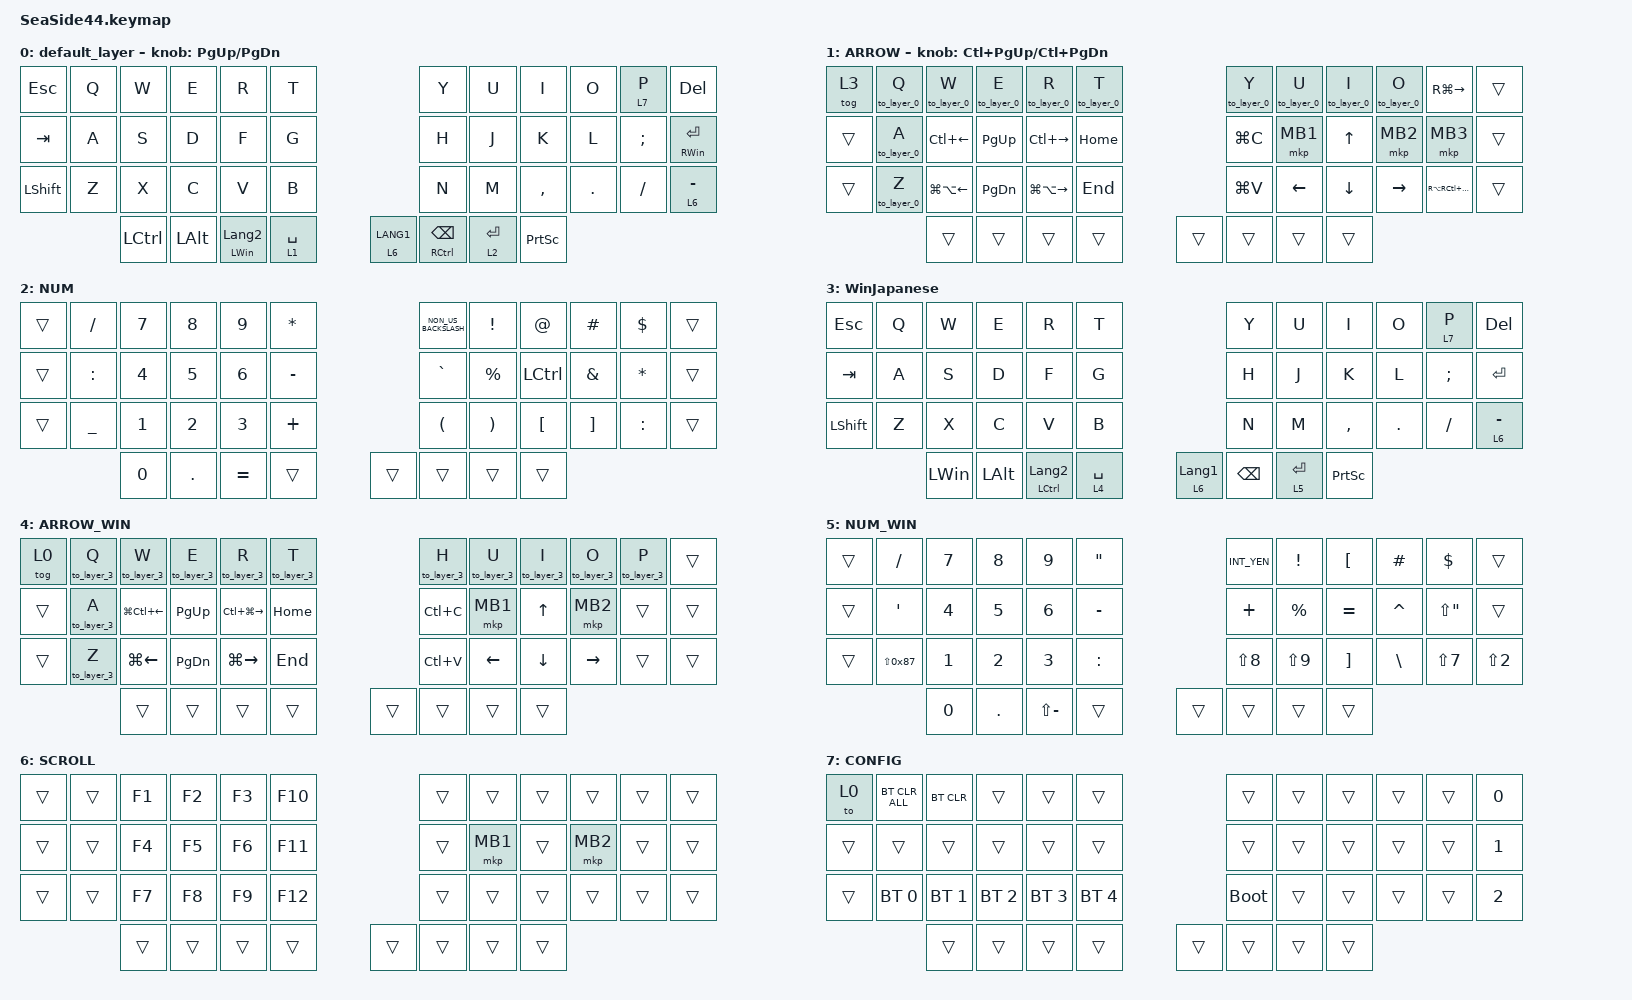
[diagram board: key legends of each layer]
#include <behaviors.dtsi>
#include <dt-bindings/zmk/bt.h>
#include <dt-bindings/zmk/keys.h>
#include <dt-bindings/zmk/pointing.h>

#define MOUSE 4
#define SCROLL 6
#define NUM 7
#define JP_UNDERSCORE   LS(0x87)

&mt {
    flavor = "balanced";
    quick-tap-ms = <300>;
};

&lt {
    flavor = "balanced";
    quick-tap-ms = <300>;
};

/ {
    combos {
        compatible = "zmk,combos";

        mouseclick1 {
            bindings = <&mkp LCLK>;
            key-positions = <19 20>;
        };

        mouseclick2 {
            bindings = <&mkp RCLK>;
            key-positions = <21 20>;
        };
    };

    macros {
        to_layer_0: to_layer_0 {
            compatible = "zmk,behavior-macro-one-param";
            #binding-cells = <1>;
            bindings = <&to 0 &macro_param_1to1 &kp MACRO_PLACEHOLDER>;
            label = "TO_LAYER_0";
        };

        to_layer_3: new_macro {
            compatible = "zmk,behavior-macro-one-param";
            #binding-cells = <1>;
            bindings = <&to 3 &macro_param_1to1 &kp MACRO_PLACEHOLDER>;
            label = "NEW_MACRO";
        };
    };

    behaviors {
        lt_to_layer_0: lt_to_layer_0 {
            compatible = "zmk,behavior-hold-tap";
            label = "LAYER_TAP_TO_0";
            bindings = <&mo>, <&to_layer_0>;

            #binding-cells = <2>;
            tapping-term-ms = <200>;
        };
    };

    keymap {
        compatible = "zmk,keymap";

        default_layer {
            bindings = <
&kp ESCAPE  &kp Q  &kp W      &kp E         &kp R                    &kp T                                            &kp Y        &kp U  &kp I      &kp O       &lt 7 P        &kp DELETE
&kp TAB     &kp A  &kp S      &kp D         &kp F                    &kp G                                            &kp H        &kp J  &kp K      &kp L       &kp SEMICOLON  &mt RIGHT_WIN ENTER
&kp LSHFT   &kp Z  &kp X      &kp C         &kp V                    &kp B                                            &kp N        &kp M  &kp COMMA  &kp PERIOD  &kp SLASH      &lt 6 MINUS
                   &kp LCTRL  &kp LEFT_ALT  &mt LEFT_WIN LANGUAGE_2  &lt 1 SPACE  &lt 6 LANG1    &mt RCTRL BACKSPACE  &lt 2 ENTER         &kp PSCRN
            >;

            sensor-bindings = <&inc_dec_kp PG_UP PAGE_DOWN>;
        };

        ARROW {
            bindings = <
&tog 3  &to_layer_0 Q  &to_layer_0 W           &to_layer_0 E  &to_layer_0 R            &to_layer_0 T                    &to_layer_0 Y  &to_layer_0 U   &to_layer_0 I  &to_layer_0 O  &kp RG(RIGHT_ARROW)          &trans
&trans  &to_layer_0 A  &kp LC(LEFT_ARROW)      &kp PAGE_UP    &kp LC(RIGHT_ARROW)      &kp HOME                         &kp LG(C)      &mkp MB1        &kp UP_ARROW   &mkp MB2       &mkp MB3                     &trans
&trans  &to_layer_0 Z  &kp LG(LA(LEFT_ARROW))  &kp PAGE_DOWN  &kp LG(LA(RIGHT_ARROW))  &kp END                          &kp LG(V)      &kp LEFT_ARROW  &kp DOWN       &kp RIGHT      &kp RA(RC(RG(RIGHT_ARROW)))  &trans
                       &trans                  &trans         &trans                   &trans         &trans    &trans  &trans                         &trans
            >;

            sensor-bindings = <&inc_dec_kp LC(PAGE_UP) LC(PAGE_DOWN)>;
        };

        NUM {
            bindings = <
&trans  &kp SLASH       &kp N7        &kp N8        &kp N9        &kp ASTERISK                    &kp NON_US_BACKSLASH  &kp EXCLAMATION        &kp AT_SIGN       &kp HASH           &kp DOLLAR    &trans
&trans  &kp COLON       &kp NUMBER_4  &kp N5        &kp NUMBER_6  &kp MINUS                       &kp GRAVE             &kp PERCENT            &kp LCTRL         &kp AMPERSAND      &kp ASTERISK  &trans
&trans  &kp UNDERSCORE  &kp NUMBER_1  &kp NUMBER_2  &kp NUMBER_3  &kp PLUS                        &kp LEFT_PARENTHESIS  &kp RIGHT_PARENTHESIS  &kp LEFT_BRACKET  &kp RIGHT_BRACKET  &kp COLON     &trans
                        &kp N0        &kp PERIOD    &kp EQUAL     &trans        &trans    &trans  &trans                                       &trans
            >;
        };

        WinJapanese {
            bindings = <
&kp ESCAPE      &kp Q  &kp W         &kp E         &kp R                 &kp T                                           &kp Y        &kp U  &kp I            &kp O       &lt 7 P    &kp DELETE
&kp TAB         &kp A  &kp S         &kp D         &kp F                 &kp G                                           &kp H        &kp J  &kp K            &kp L       &kp SEMI   &kp ENTER
&kp LEFT_SHIFT  &kp Z  &kp X         &kp C         &kp V                 &kp B                                           &kp N        &kp M  &kp COMMA        &kp PERIOD  &kp SLASH  &lt 6 MINUS
                       &kp LEFT_WIN  &kp LEFT_ALT  &mt LCTRL LANGUAGE_2  &lt 4 SPACE  &lt 6 LANGUAGE_1    &kp BACKSPACE  &lt 5 ENTER         &kp PRINTSCREEN
            >;
        };

        ARROW_WIN {
            bindings = <
&tog 0  &to_layer_3 Q  &to_layer_3 W     &to_layer_3 E  &to_layer_3 R        &to_layer_3 T                    &to_layer_3 H  &to_layer_3 U  &to_layer_3 I   &to_layer_3 O  &to_layer_3 P  &trans
&trans  &to_layer_3 A  &kp LG(LC(LEFT))  &kp PAGE_UP    &kp LC(LG(RIGHT))    &kp HOME                         &kp LC(C)      &mkp MB1       &kp UP_ARROW    &mkp MB2       &trans         &trans
&trans  &to_layer_3 Z  &kp LG(LEFT)      &kp PAGE_DOWN  &kp LG(RIGHT_ARROW)  &kp END                          &kp LC(V)      &kp LEFT       &kp DOWN_ARROW  &kp RIGHT      &trans         &trans
                       &trans            &trans         &trans               &trans         &trans    &trans  &trans                        &trans
            >;
        };

        NUM_WIN {
            bindings = <
&trans  &kp SLASH     &kp N7        &kp N8        &kp N9         &kp DOUBLE_QUOTES                    &kp INT_YEN  &kp EXCLAMATION  &kp LEFT_BRACKET   &kp HASH       &kp DOLLAR             &trans
&trans  &kp SQT       &kp NUMBER_4  &kp N5        &kp NUMBER_6   &kp MINUS                            &kp PLUS     &kp PERCENT      &kp EQUAL          &kp CARET      &kp LS(DOUBLE_QUOTES)  &trans
&trans  &kp LS(0x87)  &kp NUMBER_1  &kp NUMBER_2  &kp NUMBER_3   &kp COLON                            &kp LS(N8)   &kp LS(N9)       &kp RIGHT_BRACKET  &kp BACKSLASH  &kp LS(N7)             &kp LS(NUMBER_2)
                      &kp N0        &kp PERIOD    &kp LS(MINUS)  &trans             &trans    &trans  &trans                        &trans
            >;
        };

        SCROLL {
            bindings = <
&trans  &trans  &kp F1  &kp F2  &kp F3  &kp F10                    &trans  &trans    &trans  &trans    &trans  &trans
&trans  &trans  &kp F4  &kp F5  &kp F6  &kp F11                    &trans  &mkp MB1  &trans  &mkp MB2  &trans  &trans
&trans  &trans  &kp F7  &kp F8  &kp F9  &kp F12                    &trans  &trans    &trans  &trans    &trans  &trans
                &trans  &trans  &trans  &trans   &trans    &trans  &trans            &trans
            >;
        };

        CONFIG {
            bindings = <
&to 0   &bt BT_CLR_ALL  &bt BT_CLR    &trans        &trans        &trans                          &trans       &trans  &trans  &trans  &trans  &kp N0
&trans  &trans          &trans        &trans        &trans        &trans                          &trans       &trans  &trans  &trans  &trans  &kp N1
&trans  &bt BT_SEL 0    &bt BT_SEL 1  &bt BT_SEL 2  &bt BT_SEL 3  &bt BT_SEL 4                    &bootloader  &trans  &trans  &trans  &trans  &kp N2
                        &trans        &trans        &trans        &trans        &trans    &trans  &trans               &trans
            >;
        };
    };
};
